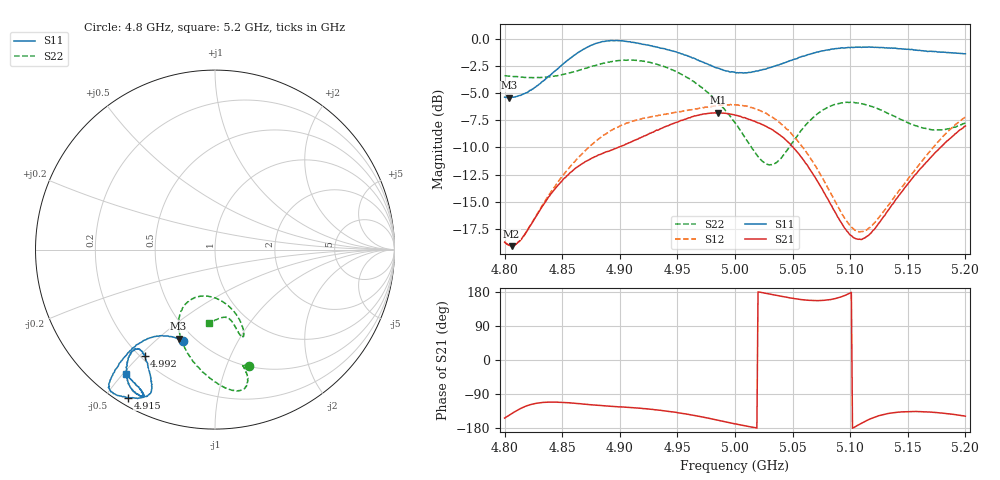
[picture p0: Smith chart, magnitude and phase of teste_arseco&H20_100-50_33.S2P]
! Network Analyzer HP8722D
! Hewlett-Packard
! Data name: Linha & Wilkinson
! Saver's name: Rodrigo Anjos
! Comments: Teste da utilização de aquisição
! continua pelo VNA HP8722D
! Time and date: 6/5/2025 12:50
!  Frequency  S11  S21  S12  S22
# HZ  S  MA R 50
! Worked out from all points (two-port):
!   401 points, 4.8 GHz to 5.2 GHz, reference 50 ohm
!   highest |S21| = -6.81 dB at 4.985 GHz (marker M1); lowest = -19.1 dB at 4.806 GHz (marker M2)
!   |S21| within 3 dB of the highest: 4.903 GHz to 5.049 GHz (145.5 MHz wide, 2.92 % of centre); 5.180248 GHz to end of sweep
!   lowest |S11| = -5.4 dB at 4.804 GHz (marker M3), VSWR 3.31, Z = 21 - j29.3 ohm
!   |S11| at or under -10 dB: nowhere
!   |S22| runs from -11.6 to -1.9 dB; largest |S21 - S12| = 0.58
!   S11 on the Smith chart (normalised r, x): 4.8 GHz: 0.43, -0.62; 4.915 GHz: 0.03, -0.57; 4.992 GHz: 0.22, -0.52; 5.2 GHz: 0.10, -0.51
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4.8e9  0.5383 -109.4  0.1157 -153.2  0.1162 -97.0  0.6758 -73.8
4.804e9  0.536 -112.3  0.1118 -145.6  0.1119 -89.4  0.6729 -74.2
4.806e9  0.5382 -113.4  0.1111 -141.9  0.1109 -85.5  0.6731 -74.6
4.815e9  0.5527 -119.5  0.1205 -126.4  0.1202 -68.9  0.665 -75.5
4.833e9  0.6362 -127.7  0.1699 -112.0  0.1719 -52.5  0.6637 -76.5
4.867e9  0.8844 -129.4  0.2656 -115.9  0.2941 -49.7  0.7227 -75.6
4.887e9  0.9729 -127.2  0.2999 -121.0  0.3622 -54.2  0.7725 -76.6
4.915e9  0.9559 -120.4  0.3448 -126.8  0.423 -62.7  0.7953 -82.0
4.934e9  0.9106 -115.7  0.3813 -132.5  0.445 -68.2  0.7574 -87.5
4.955e9  0.8481 -114.5  0.4225 -141.3  0.4646 -74.5  0.6799 -96.3
4.985e9  0.7319 -121.2  0.4563 -158.9  0.4924 -86.5  0.5124 -112.4
4.992e9  0.7116 -123.4  0.4537 -163.4  0.4962 -90.0  0.4654 -115.7
5e9  0.7006 -125.2  0.4449 -168.6  0.4967 -94.5  0.4109 -118.4
5.017e9  0.7062 -128.3  0.4174 -178.4  0.477 -104.6  0.3013 -114.7
5.031e9  0.738 -129.1  0.3853 173.4  0.4396 -113.1  0.2633 -97.3
5.067e9  0.8547 -125.1  0.2415 157.1  0.2744 -127.3  0.4295 -70.5
5.085e9  0.8965 -121.9  0.1655 160.7  0.1858 -123.2  0.4941 -71.1
5.104e9  0.9126 -118.8  0.1206 -176.8  0.1314 -99.4  0.5081 -72.7
5.116e9  0.9173 -117.3  0.1244 -157.5  0.1343 -78.9  0.4919 -73.7
5.134e9  0.9076 -116.1  0.165 -140.8  0.1736 -59.9  0.4503 -75.1
5.172e9  0.8746 -119.8  0.2919 -138.1  0.3163 -52.0  0.3804 -81.9
5.2e9  0.8526 -125.4  0.3966 -148.3  0.4374 -60.8  0.4092 -94.3
